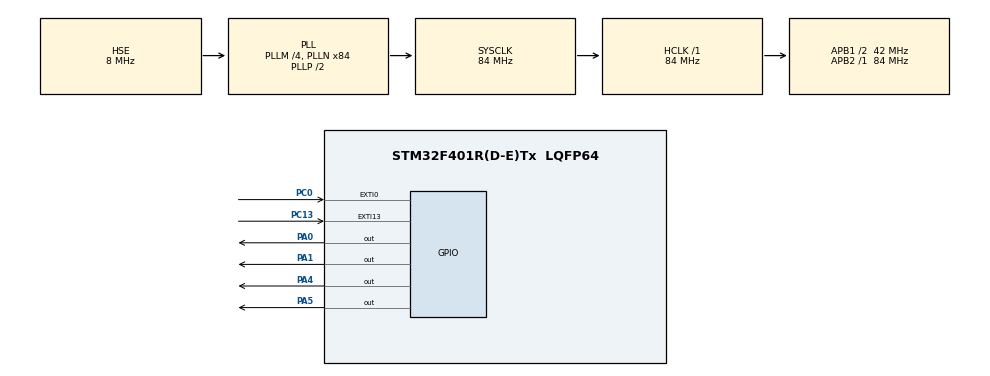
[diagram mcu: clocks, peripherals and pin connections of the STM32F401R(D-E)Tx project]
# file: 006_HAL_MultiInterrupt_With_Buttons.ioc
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Mcu.Family=STM32F4
Mcu.Name=STM32F401R(D-E)Tx
Mcu.Package=LQFP64
NVIC.EXTI0_IRQn=true\:0\:0\:false\:false\:true\:true\:true\:true
NVIC.EXTI15_10_IRQn=true\:0\:0\:false\:false\:true\:true\:true\:true
NVIC.PriorityGroup=NVIC_PRIORITYGROUP_0
PA0-WKUP.GPIO_ModeDefaultOutputPP=GPIO_MODE_OUTPUT_PP
PA0-WKUP.GPIO_PuPd=GPIO_NOPULL
PA0-WKUP.GPIO_Speed=GPIO_SPEED_FREQ_VERY_HIGH
PA0-WKUP.PinState=GPIO_PIN_RESET
PA0-WKUP.Signal=GPIO_Output
PA1.GPIO_ModeDefaultOutputPP=GPIO_MODE_OUTPUT_PP
PA1.GPIO_PuPd=GPIO_NOPULL
PA1.GPIO_Speed=GPIO_SPEED_FREQ_VERY_HIGH
PA1.PinState=GPIO_PIN_RESET
PA1.Signal=GPIO_Output
PA4.GPIO_ModeDefaultOutputPP=GPIO_MODE_OUTPUT_PP
PA4.GPIO_PuPd=GPIO_NOPULL
PA4.GPIO_Speed=GPIO_SPEED_FREQ_VERY_HIGH
PA4.PinState=GPIO_PIN_RESET
PA4.Signal=GPIO_Output
PA5.GPIO_ModeDefaultOutputPP=GPIO_MODE_OUTPUT_PP
PA5.GPIO_PuPd=GPIO_NOPULL
PA5.GPIO_Speed=GPIO_SPEED_FREQ_VERY_HIGH
PA5.PinState=GPIO_PIN_RESET
PA5.Signal=GPIO_Output
PC0.GPIO_ModeDefaultEXTI=GPIO_MODE_IT_RISING
PC0.GPIO_PuPd=GPIO_PULLDOWN
PC0.Signal=GPXTI0
PC13-ANTI_TAMP.GPIO_ModeDefaultEXTI=GPIO_MODE_IT_RISING
PC13-ANTI_TAMP.GPIO_PuPd=GPIO_PULLDOWN
PC13-ANTI_TAMP.Signal=GPXTI13
PH0\ -\ OSC_IN.Mode=HSE-External-Oscillator
PH0\ -\ OSC_IN.Signal=RCC_OSC_IN
PH1\ -\ OSC_OUT.Mode=HSE-External-Oscillator
PH1\ -\ OSC_OUT.Signal=RCC_OSC_OUT
ProjectManager.HeapSize=0x200
ProjectManager.StackSize=0x400
ProjectManager.TargetToolchain=TrueSTUDIO
RCC.48MHZClocksFreq_Value=24000000
RCC.AHBFreq_Value=84000000
RCC.APB1CLKDivider=RCC_HCLK_DIV2
RCC.APB1Freq_Value=42000000
RCC.APB1TimFreq_Value=84000000
RCC.APB2Freq_Value=84000000
RCC.APB2TimFreq_Value=84000000
RCC.CortexFreq_Value=84000000
RCC.HCLKFreq_Value=84000000
RCC.HSE_VALUE=8000000
RCC.HSI_VALUE=16000000
RCC.PLLM=4
RCC.PLLN=84
RCC.PLLQ=7
RCC.PLLSourceVirtual=RCC_PLLSOURCE_HSE
RCC.SYSCLKFreq_VALUE=84000000
RCC.SYSCLKSource=RCC_SYSCLKSOURCE_PLLCLK
RCC.VCOOutputFreq_Value=168000000
board=NUCLEO-F401RE

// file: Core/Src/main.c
/* USER CODE BEGIN Header */
/**
  ******************************************************************************
  * @file           : main.c
  * @brief          : Main program body
  ******************************************************************************
  * @attention
  *
  * Copyright (c) 2022 STMicroelectronics.
  * All rights reserved.
  *
  * This software is licensed under terms that can be found in the LICENSE file
  * in the root directory of this software component.
  * If no LICENSE file comes with this software, it is provided AS-IS.
  *
  ******************************************************************************
  */
/* USER CODE END Header */
#include "main.h"

/* USER CODE BEGIN PV */
int count=0;
int i =0;
/* USER CODE END PV */

void SystemClock_Config(void);
static void MX_GPIO_Init(void);

/* USER CODE BEGIN 0 */
void HAL_GPIO_EXTI_Callback(uint16_t GPIO_Pin)
{
 i++;
 if(HAL_GPIO_ReadPin(GPIOC,GPIO_PIN_0))
 {
	 if(i==1)
	  {
	 	 count=1000;

	  }
	  else if(i==2)
	  {
	 	 count =750;
	  }
	  else if (i==3)
	  {
	  	 count =500;
	   }
	  else
	  {
	 	 count=250;
	 	 i=0;
	  }
 }
	 else if(HAL_GPIO_ReadPin(GPIOC,GPIO_PIN_13))
	 {
		 count=10;
	 }

 }

/* USER CODE END 0 */

int main(void)
{

  /* MCU Configuration--------------------------------------------------------*/

  /* Reset of all peripherals, Initializes the Flash interface and the Systick. */
  HAL_Init();

  /* Configure the system clock */
  SystemClock_Config();

  /* Initialize all configured peripherals */
  MX_GPIO_Init();

  /* Infinite loop */
  while (1)
  {

    /* USER CODE BEGIN 3 */
	  HAL_GPIO_TogglePin(GPIOA,GPIO_PIN_All);
	  HAL_Delay(count);
  }
  /* USER CODE END 3 */
}

void SystemClock_Config(void)
{
  RCC_OscInitTypeDef RCC_OscInitStruct = {0};
  RCC_ClkInitTypeDef RCC_ClkInitStruct = {0};

  /** Configure the main internal regulator output voltage
  */
  __HAL_RCC_PWR_CLK_ENABLE();
  __HAL_PWR_VOLTAGESCALING_CONFIG(PWR_REGULATOR_VOLTAGE_SCALE2);

  /** Initializes the RCC Oscillators according to the specified parameters
  * in the RCC_OscInitTypeDef structure.
  */
  RCC_OscInitStruct.OscillatorType = RCC_OSCILLATORTYPE_HSE;
  RCC_OscInitStruct.HSEState = RCC_HSE_ON;
  RCC_OscInitStruct.PLL.PLLState = RCC_PLL_ON;
  RCC_OscInitStruct.PLL.PLLSource = RCC_PLLSOURCE_HSE;
  RCC_OscInitStruct.PLL.PLLM = 4;
  RCC_OscInitStruct.PLL.PLLN = 84;
  RCC_OscInitStruct.PLL.PLLP = RCC_PLLP_DIV2;
  RCC_OscInitStruct.PLL.PLLQ = 7;
  if (HAL_RCC_OscConfig(&RCC_OscInitStruct) != HAL_OK)
  {
    Error_Handler();
  }

  /** Initializes the CPU, AHB and APB buses clocks
  */
  RCC_ClkInitStruct.ClockType = RCC_CLOCKTYPE_HCLK|RCC_CLOCKTYPE_SYSCLK
                              |RCC_CLOCKTYPE_PCLK1|RCC_CLOCKTYPE_PCLK2;
  RCC_ClkInitStruct.SYSCLKSource = RCC_SYSCLKSOURCE_PLLCLK;
  RCC_ClkInitStruct.AHBCLKDivider = RCC_SYSCLK_DIV1;
  RCC_ClkInitStruct.APB1CLKDivider = RCC_HCLK_DIV2;
  RCC_ClkInitStruct.APB2CLKDivider = RCC_HCLK_DIV1;

  if (HAL_RCC_ClockConfig(&RCC_ClkInitStruct, FLASH_LATENCY_2) != HAL_OK)
  {
    Error_Handler();
  }
}

static void MX_GPIO_Init(void)
{
  GPIO_InitTypeDef GPIO_InitStruct = {0};

  /* GPIO Ports Clock Enable */
  __HAL_RCC_GPIOC_CLK_ENABLE();
  __HAL_RCC_GPIOH_CLK_ENABLE();
  __HAL_RCC_GPIOA_CLK_ENABLE();

  /*Configure GPIO pin Output Level */
  HAL_GPIO_WritePin(GPIOA, GPIO_PIN_0|GPIO_PIN_1|GPIO_PIN_4|GPIO_PIN_5, GPIO_PIN_RESET);

  /*Configure GPIO pins : PC13 PC0 */
  GPIO_InitStruct.Pin = GPIO_PIN_13|GPIO_PIN_0;
  GPIO_InitStruct.Mode = GPIO_MODE_IT_RISING;
  GPIO_InitStruct.Pull = GPIO_PULLDOWN;
  HAL_GPIO_Init(GPIOC, &GPIO_InitStruct);

  /*Configure GPIO pins : PA0 PA1 PA4 PA5 */
  GPIO_InitStruct.Pin = GPIO_PIN_0|GPIO_PIN_1|GPIO_PIN_4|GPIO_PIN_5;
  GPIO_InitStruct.Mode = GPIO_MODE_OUTPUT_PP;
  GPIO_InitStruct.Pull = GPIO_NOPULL;
  GPIO_InitStruct.Speed = GPIO_SPEED_FREQ_VERY_HIGH;
  HAL_GPIO_Init(GPIOA, &GPIO_InitStruct);

  /* EXTI interrupt init*/
  HAL_NVIC_SetPriority(EXTI0_IRQn, 0, 0);
  HAL_NVIC_EnableIRQ(EXTI0_IRQn);

  HAL_NVIC_SetPriority(EXTI15_10_IRQn, 0, 0);
  HAL_NVIC_EnableIRQ(EXTI15_10_IRQn);

}

void Error_Handler(void)
{
  __disable_irq();
  while (1)
  {
  }
}
